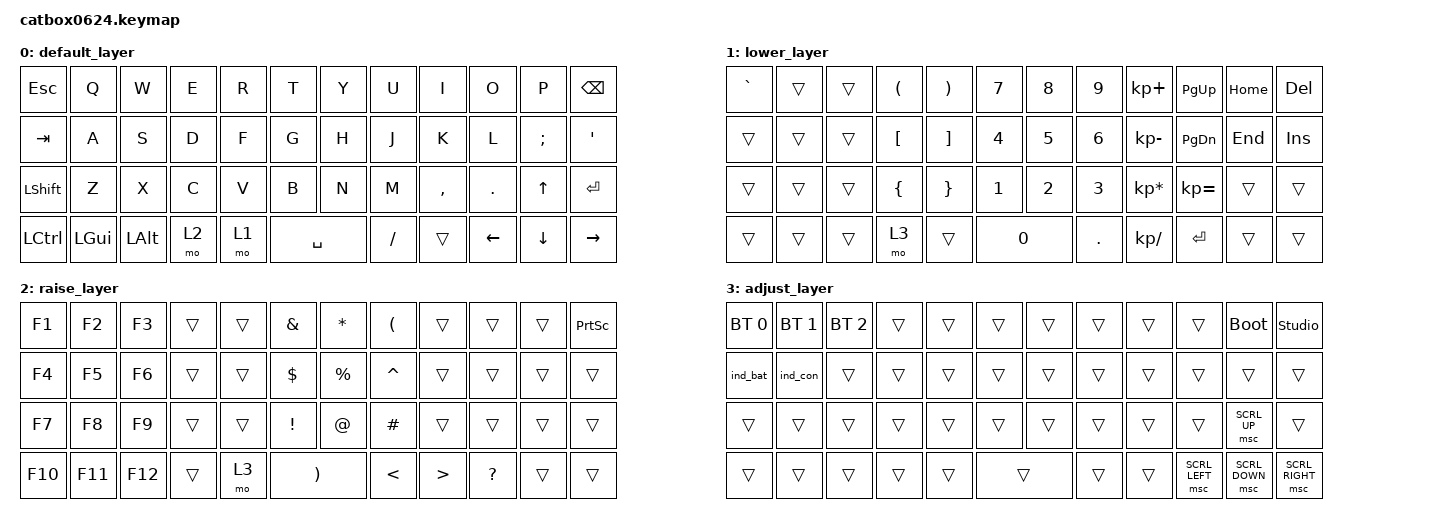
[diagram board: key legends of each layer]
// Planck 4x12 keymap with 2u spacebar (MIT layout)
// 47 logical bindings, 47 physical keys:
//   RC(3,5)=spacebar(2u), RC(3,6)=empty (no switch, not in transform)
// See https://zmk.dev/docs/development/hardware-integration/new-shield#default-keymap

#include <behaviors.dtsi>
#include <dt-bindings/zmk/keys.h>
#include <dt-bindings/zmk/pointing.h>
#include <dt-bindings/zmk/bt.h>
#include <behaviors/rgbled_widget.dtsi>

/ {
    keymap {
        compatible = "zmk,keymap";

        default_layer {
// ╭─────┬─────┬─────┬─────┬─────┬─────┬─────┬─────┬─────┬─────┬─────┬─────╮
// │ ESC │  Q  │  W  │  E  │  R  │  T  │  Y  │  U  │  I  │  O  │  P  │BSPC │
// ├─────┼─────┼─────┼─────┼─────┼─────┼─────┼─────┼─────┼─────┼─────┼─────┤
// │ TAB │  A  │  S  │  D  │  F  │  G  │  H  │  J  │  K  │  L  │SCLN │QUOT │
// ├─────┼─────┼─────┼─────┼─────┼─────┼─────┼─────┼─────┼─────┼─────┼─────┤
// │LSFT │  Z  │  X  │  C  │  V  │  B  │  N  │  M  │COMMA│ DOT │ UP  │ RET │
// ├─────┼─────┼─────┼─────┼─────┼─────┼─────┼─────┼─────┼─────┼─────┼─────┤
// │CTRL │GUI  │ALT  │RAISE│LOWER│SPACE (2u) │  /  │     │LEFT │DOWN │RGHT │
// ╰─────┴─────┴─────┴─────┴─────┴─────┬─────┴─────┴─────┴─────┴─────┴─────╯
            bindings = <
    &kp ESC    &kp Q      &kp W      &kp E      &kp R      &kp T      &kp Y      &kp U      &kp I      &kp O      &kp P       &kp BSPC
    &kp TAB    &kp A      &kp S      &kp D      &kp F      &kp G      &kp H      &kp J      &kp K      &kp L      &kp SEMI    &kp SQT
    &kp LSHFT  &kp Z      &kp X      &kp C      &kp V      &kp B      &kp N      &kp M      &kp COMMA   &kp DOT    &kp UP      &kp RET
    &kp LCTRL  &kp LGUI   &kp LALT   &mo 2      &mo 1      &kp SPACE  &kp FSLH    &trans      &kp LEFT   &kp DOWN   &kp RIGHT
            >;
        };

        lower_layer {
// ╭─────┬─────┬─────┬─────┬─────┬─────┬─────┬─────┬─────┬─────┬─────┬─────╮
// │  `  │     │     │  (  │  )  │  7  │  8  │  9  │  +  │PGUP │HOME │ DEL │
// ├─────┼─────┼─────┼─────┼─────┼─────┼─────┼─────┼─────┼─────┼─────┼─────┤
// │     │     │     │  [  │  ]  │  4  │  5  │  6  │  -  │PGDN │ END │ INS │
// ├─────┼─────┼─────┼─────┼─────┼─────┼─────┼─────┼─────┼─────┼─────┼─────┤
// │     │     │     │  {  │  }  │  1  │  2  │  3  │  *  │  =  │     │     │
// ├─────┼─────┼─────┼─────┼─────┼─────┼─────┼─────┼─────┼─────┼─────┼─────┤
// │     │     │     │ ADJ │     │  0 (2u)   │  .  │  /  │ RET │     │     │
// ╰─────┴─────┴─────┴─────┴─────┴─────┬─────┴─────┴─────┴─────┴─────┴─────╯
            bindings = <
    &kp GRAVE   &trans      &trans      &kp LPAR    &kp RPAR    &kp N7      &kp N8      &kp N9      &kp KP_PLUS     &kp PG_UP   &kp HOME    &kp DEL
    &trans      &trans      &trans      &kp LBKT    &kp RBKT    &kp N4      &kp N5      &kp N6      &kp KP_MINUS    &kp PG_DN   &kp END     &kp INS
    &trans      &trans      &trans      &kp LBRC    &kp RBRC    &kp N1      &kp N2      &kp N3      &kp KP_MULTIPLY &kp KP_EQUAL &trans      &trans
    &trans      &trans      &trans      &mo 3       &trans      &kp N0      &kp DOT     &kp KP_DIVIDE    &kp RET     &trans      &trans
            >;
        };

        raise_layer {
// ╭─────┬─────┬─────┬─────┬─────┬─────┬─────┬─────┬─────┬─────┬─────┬─────╮
// │ F1  │ F2  │ F3  │     │     │  &  │  *  │  (  │     │     │     │PrSc │
// ├─────┼─────┼─────┼─────┼─────┼─────┼─────┼─────┼─────┼─────┼─────┼─────┤
// │ F4  │ F5  │ F6  │     │     │  $  │  %  │  ^  │     │     │     │     │
// ├─────┼─────┼─────┼─────┼─────┼─────┼─────┼─────┼─────┼─────┼─────┼─────┤
// │ F7  │ F8  │ F9  │     │     │  !  │  @  │  #  │     │     │     │     │
// ├─────┼─────┼─────┼─────┼─────┼─────┼─────┼─────┼─────┼─────┼─────┼─────┤
// │ F10 │ F11 │ F12 │     │ ADJ │   ) (2u)  │  <  │  >  │  ?  │     │     │
// ╰─────┴─────┴─────┴─────┴─────┴─────┬─────┴─────┴─────┴─────┴─────┴─────╯
            bindings = <
    &kp F1      &kp F2      &kp F3      &trans      &trans      &kp AMPERSAND &kp ASTERISK &kp LPAR    &trans      &trans      &trans      &kp PRINTSCREEN
    &kp F4      &kp F5      &kp F6      &trans      &trans      &kp DOLLAR    &kp PERCENT  &kp CARET   &trans      &trans      &trans      &trans
    &kp F7      &kp F8      &kp F9      &trans      &trans      &kp EXCLAMATION &kp AT_SIGN &kp HASH  &trans      &trans      &trans      &trans
    &kp F10     &kp F11     &kp F12     &trans      &mo 3       &kp RPAR      &kp LESS_THAN &kp GREATER_THAN &kp QUESTION &trans      &trans
            >;
        };

        // Adjust layer (3) — activated when LOWER+RAISE are pressed together
        adjust_layer {
// ╭─────┬─────┬─────┬─────┬─────┬─────┬─────┬─────┬─────┬─────┬─────┬─────╮
// │ BT0 │ BT1 │ BT2 │     │     │     │     │     │     │     │BOOT │UNLK │
// ├─────┼─────┼─────┼─────┼─────┼─────┼─────┼─────┼─────┼─────┼─────┼─────┤
// │BATT │CONN │     │     │     │     │     │     │     │     │     │     │
// ├─────┼─────┼─────┼─────┼─────┼─────┼─────┼─────┼─────┼─────┼─────┼─────┤
// │     │     │     │     │     │     │     │     │     │     │SCRL │     │
// ├─────┼─────┼─────┼─────┼─────┼─────┼─────┼─────┼─────┼─────┼─────┼─────┤
// │     │     │     │     │     │           │     │     │LFET │DOWN │RGHT │
// ╰─────┴─────┴─────┴─────┴─────┴─────┬─────┴─────┴─────┴─────┴─────┴─────╯
            bindings = <
    &bt BT_SEL 0   &bt BT_SEL 1   &bt BT_SEL 2   &trans      &trans      &trans      &trans      &trans      &trans      &trans      &bootloader &studio_unlock
    &ind_bat       &ind_con       &trans        &trans      &trans      &trans      &trans      &trans      &trans      &trans      &trans      &trans
    &trans      &trans      &trans      &trans      &trans      &trans      &trans      &trans      &trans      &trans      &msc SCRL_UP &trans
    &trans      &trans      &trans      &trans      &trans      &trans      &trans      &trans      &msc SCRL_LEFT &msc SCRL_DOWN &msc SCRL_RIGHT
        >;
    };

    // Reserved layers (4-15) — ZMK Studio can edit these without recompiling
        extra_4  { status = "reserved"; bindings = < &trans &trans &trans &trans &trans &trans &trans &trans &trans &trans &trans &trans &trans &trans &trans &trans &trans &trans &trans &trans &trans &trans &trans &trans &trans &trans &trans &trans &trans &trans &trans &trans &trans &trans &trans &trans &trans &trans &trans &trans &trans &trans &trans &trans &trans &trans &trans >; };
        extra_5  { status = "reserved"; bindings = < &trans &trans &trans &trans &trans &trans &trans &trans &trans &trans &trans &trans &trans &trans &trans &trans &trans &trans &trans &trans &trans &trans &trans &trans &trans &trans &trans &trans &trans &trans &trans &trans &trans &trans &trans &trans &trans &trans &trans &trans &trans &trans &trans &trans &trans &trans &trans >; };
        extra_6  { status = "reserved"; bindings = < &trans &trans &trans &trans &trans &trans &trans &trans &trans &trans &trans &trans &trans &trans &trans &trans &trans &trans &trans &trans &trans &trans &trans &trans &trans &trans &trans &trans &trans &trans &trans &trans &trans &trans &trans &trans &trans &trans &trans &trans &trans &trans &trans &trans &trans &trans &trans >; };
        extra_7  { status = "reserved"; bindings = < &trans &trans &trans &trans &trans &trans &trans &trans &trans &trans &trans &trans &trans &trans &trans &trans &trans &trans &trans &trans &trans &trans &trans &trans &trans &trans &trans &trans &trans &trans &trans &trans &trans &trans &trans &trans &trans &trans &trans &trans &trans &trans &trans &trans &trans &trans &trans >; };
        extra_8  { status = "reserved"; bindings = < &trans &trans &trans &trans &trans &trans &trans &trans &trans &trans &trans &trans &trans &trans &trans &trans &trans &trans &trans &trans &trans &trans &trans &trans &trans &trans &trans &trans &trans &trans &trans &trans &trans &trans &trans &trans &trans &trans &trans &trans &trans &trans &trans &trans &trans &trans &trans >; };
        extra_9  { status = "reserved"; bindings = < &trans &trans &trans &trans &trans &trans &trans &trans &trans &trans &trans &trans &trans &trans &trans &trans &trans &trans &trans &trans &trans &trans &trans &trans &trans &trans &trans &trans &trans &trans &trans &trans &trans &trans &trans &trans &trans &trans &trans &trans &trans &trans &trans &trans &trans &trans &trans >; };
        extra_10 { status = "reserved"; bindings = < &trans &trans &trans &trans &trans &trans &trans &trans &trans &trans &trans &trans &trans &trans &trans &trans &trans &trans &trans &trans &trans &trans &trans &trans &trans &trans &trans &trans &trans &trans &trans &trans &trans &trans &trans &trans &trans &trans &trans &trans &trans &trans &trans &trans &trans &trans &trans >; };
        extra_11 { status = "reserved"; bindings = < &trans &trans &trans &trans &trans &trans &trans &trans &trans &trans &trans &trans &trans &trans &trans &trans &trans &trans &trans &trans &trans &trans &trans &trans &trans &trans &trans &trans &trans &trans &trans &trans &trans &trans &trans &trans &trans &trans &trans &trans &trans &trans &trans &trans &trans &trans &trans >; };
        extra_12 { status = "reserved"; bindings = < &trans &trans &trans &trans &trans &trans &trans &trans &trans &trans &trans &trans &trans &trans &trans &trans &trans &trans &trans &trans &trans &trans &trans &trans &trans &trans &trans &trans &trans &trans &trans &trans &trans &trans &trans &trans &trans &trans &trans &trans &trans &trans &trans &trans &trans &trans &trans >; };
        extra_13 { status = "reserved"; bindings = < &trans &trans &trans &trans &trans &trans &trans &trans &trans &trans &trans &trans &trans &trans &trans &trans &trans &trans &trans &trans &trans &trans &trans &trans &trans &trans &trans &trans &trans &trans &trans &trans &trans &trans &trans &trans &trans &trans &trans &trans &trans &trans &trans &trans &trans &trans &trans >; };
        extra_14 { status = "reserved"; bindings = < &trans &trans &trans &trans &trans &trans &trans &trans &trans &trans &trans &trans &trans &trans &trans &trans &trans &trans &trans &trans &trans &trans &trans &trans &trans &trans &trans &trans &trans &trans &trans &trans &trans &trans &trans &trans &trans &trans &trans &trans &trans &trans &trans &trans &trans &trans &trans >; };
        extra_15 { status = "reserved"; bindings = < &trans &trans &trans &trans &trans &trans &trans &trans &trans &trans &trans &trans &trans &trans &trans &trans &trans &trans &trans &trans &trans &trans &trans &trans &trans &trans &trans &trans &trans &trans &trans &trans &trans &trans &trans &trans &trans &trans &trans &trans &trans &trans &trans &trans &trans &trans &trans >; };
    };
};
